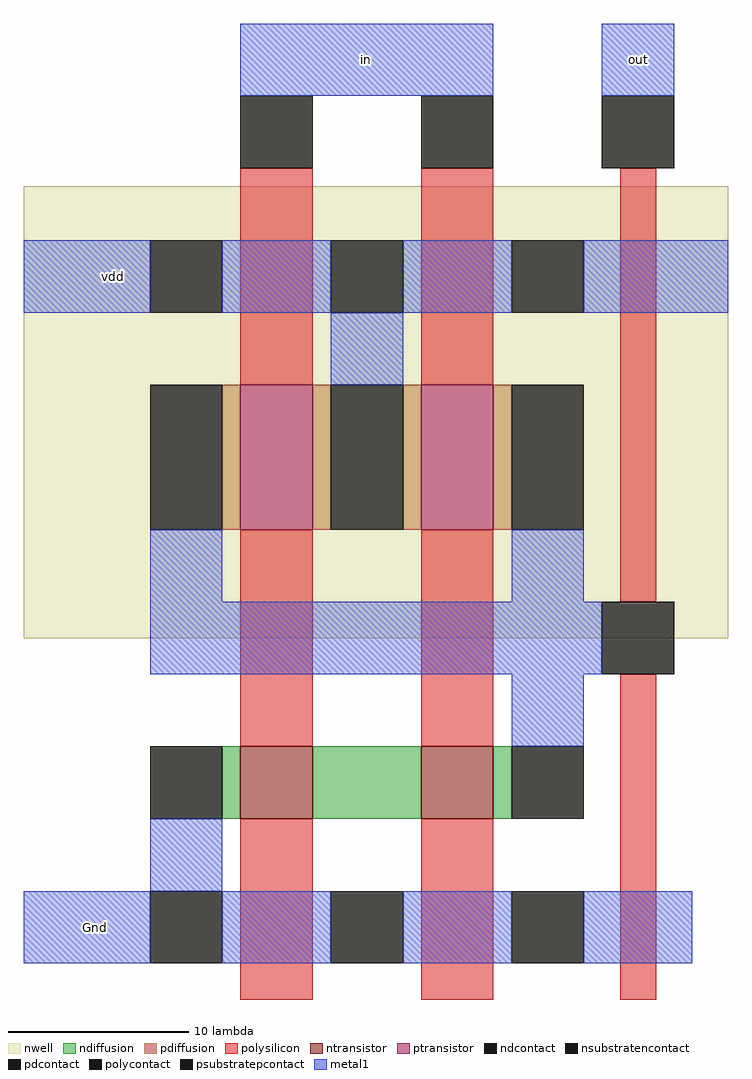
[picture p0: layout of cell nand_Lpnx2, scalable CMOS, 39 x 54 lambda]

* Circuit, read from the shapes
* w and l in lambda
.subckt nand_Lpnx2 Gnd in out vdd
M1 n1 in Gnd Gnd nfet w=4 l=4
M2 out in n1 Gnd nfet w=4 l=4
M3 vdd in out vdd pfet w=8 l=4 m=2
.ends

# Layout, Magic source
magic
tech scmos
<< nwell >>
rect -17 1 22 26
<< ntransistor >>
rect -5 -9 -1 -5
rect 5 -9 9 -5
<< ptransistor >>
rect -5 7 -1 15
rect 5 7 9 15
<< ndiffusion >>
rect -6 -9 -5 -5
rect -1 -9 5 -5
rect 9 -9 10 -5
<< pdiffusion >>
rect -6 7 -5 15
rect -1 7 0 15
rect 4 7 5 15
rect 9 7 10 15
<< ndcontact >>
rect -10 -9 -6 -5
rect 10 -9 14 -5
<< pdcontact >>
rect -10 7 -6 15
rect 0 7 4 15
rect 10 7 14 15
<< psubstratepcontact >>
rect -10 -17 -6 -13
rect 0 -17 4 -13
rect 10 -17 14 -13
<< nsubstratencontact >>
rect -10 19 -6 23
rect 0 19 4 23
rect 10 19 14 23
<< polysilicon >>
rect -5 15 -1 27
rect 5 15 9 27
rect -5 -5 -1 7
rect 5 -5 9 7
rect 16 3 18 27
rect -5 -19 -1 -9
rect 5 -19 9 -9
rect 16 -19 18 -1
<< polycontact >>
rect -5 27 -1 31
rect 5 27 9 31
rect 15 27 19 31
rect 15 -1 19 3
<< metal1 >>
rect -5 31 9 35
rect 15 31 19 35
rect -17 19 -10 23
rect -6 19 0 23
rect 4 19 10 23
rect 14 19 22 23
rect 0 15 4 19
rect -10 3 -6 7
rect 10 3 14 7
rect -10 -1 15 3
rect 10 -5 14 -1
rect -10 -13 -6 -9
rect -17 -17 -10 -13
rect -6 -17 0 -13
rect 4 -17 10 -13
rect 14 -17 20 -13
<< labels >>
rlabel metal1 0 31 4 35 5 in
rlabel metal1 -14 19 -10 23 3 vdd
rlabel metal1 -15 -17 -11 -13 2 Gnd
rlabel metal1 15 31 19 35 6 out
<< end >>
